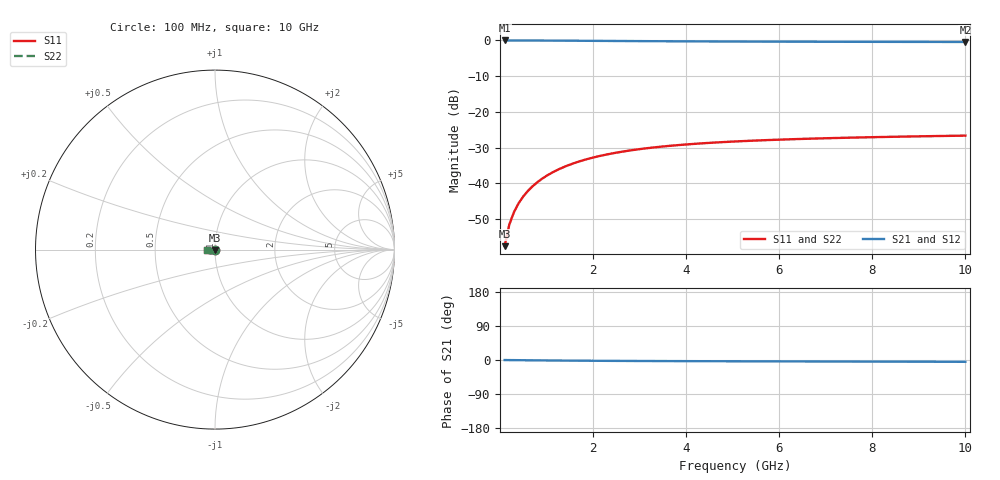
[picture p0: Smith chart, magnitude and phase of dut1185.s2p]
! Touchstone file exported from HFSS 2024.1.0
!  File:  C:/UserFiles/LocalFiles/RDL_TSV_Batchsim/temp_TSV1_1185_1780075142.aedt
!  Generated:  01:24:38 AM May 30, 2026
!  Design:  TSV1
!  Project:  temp_TSV1_1185_1780075142
!  Setup:  Setup1
!  Solution:  Sweep
! Variables:
!  dtsv = 11.88um
!  hbump = 3um
!  htsv = 73.37um
!  lrdl = 252.1521522um
!  p = 40
!  p1 = 52.03um
!  t = 500um
!  trdl = 3um
!  wrdl = 24.89489489um
# GHz S MA R 50.000000
! Terminal data exported
! Port[1] = TSV22_T1
! Port[2] = TSV22_T2
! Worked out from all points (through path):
!   100 points, 100 MHz to 10 GHz, reference 50 ohm
!   highest |S21| = 0.00 dB at 100 MHz (marker M1); lowest = -0.4 dB at 10 GHz (marker M2)
!   lowest |S11| = -57.6 dB at 100 MHz (marker M3), VSWR 1.00, Z = 50 - j0.131 ohm
!   |S11| at or under -10 dB: start of sweep to end of sweep
!   |S22| runs from -57.6 to -26.7 dB; largest |S21 - S12| = 1.3e-14
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0.1  0.001312 -87.6  0.9999 -0.1  0.9999 -0.1  0.001312 -87.6
! Gamma 0 0 0 0
! Port Impedance 50 0 50 0
0.2  0.002619 -91.3  0.9997 -0.2  0.9997 -0.2  0.002619 -91.3
0.3  0.003925 -93.8  0.9995 -0.4  0.9995 -0.4  0.003925 -93.8
0.4  0.005225 -95.9  0.9992 -0.5  0.9992 -0.5  0.005225 -95.9
0.5  0.006516 -97.9  0.9988 -0.6  0.9988 -0.6  0.006516 -97.9
0.6  0.007791 -99.8  0.9984 -0.7  0.9984 -0.7  0.007791 -99.8
0.7  0.009048 -101.7  0.9978 -0.8  0.9978 -0.8  0.009048 -101.7
0.8  0.01028 -103.5  0.9973 -0.9  0.9973 -0.9  0.01028 -103.5
0.9  0.0115 -105.3  0.9966 -1.1  0.9966 -1.1  0.0115 -105.3
1.1  0.01384 -108.8  0.9952 -1.3  0.9952 -1.3  0.01384 -108.8
1.4  0.01714 -113.7  0.9928 -1.5  0.9928 -1.5  0.01714 -113.7
1.6  0.01918 -116.8  0.9911 -1.7  0.9911 -1.7  0.01918 -116.8
1.8  0.02109 -119.8  0.9893 -1.9  0.9893 -1.9  0.02109 -119.8
2.1  0.02371 -124.0  0.9865 -2.1  0.9865 -2.1  0.02371 -124.0
2.5  0.02678 -129.2  0.9829 -2.4  0.9829 -2.4  0.02678 -129.2
2.9  0.02942 -133.9  0.9795 -2.6  0.9795 -2.6  0.02942 -133.9
3.4  0.03219 -139.1  0.9756 -2.8  0.9756 -2.8  0.03219 -139.1
4.2  0.03566 -146.2  0.9702 -3.1  0.9702 -3.1  0.03566 -146.2
5.1  0.03857 -152.8  0.9654 -3.4  0.9654 -3.4  0.03857 -152.8
6.7  0.04212 -162.2  0.9594 -3.9  0.9594 -3.9  0.04212 -162.2
8.4  0.04465 -170.1  0.9552 -4.3  0.9552 -4.3  0.04464 -170.1
10  0.04641 -176.2  0.9525 -4.8  0.9525 -4.8  0.0464 -176.2
